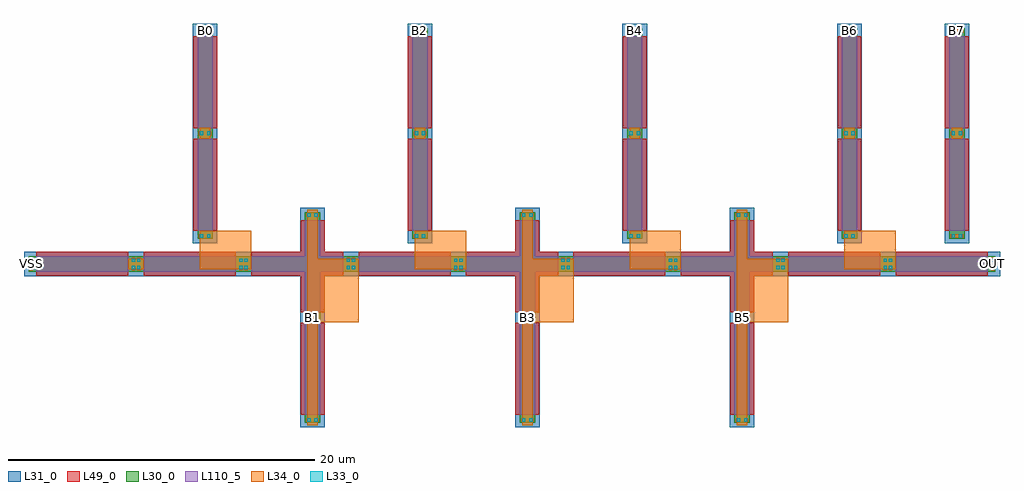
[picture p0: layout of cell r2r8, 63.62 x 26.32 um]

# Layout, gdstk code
import gdstk
lib = gdstk.Library(unit=1e-6, precision=1e-09)
def R(c, l, rs):  # rectangles x0, y0, x1, y1
    for r in rs: c.add(gdstk.rectangle(r[:2], r[2:], *l))
def A(c, l, x, y, w, h, nx, ny, dx, dy):  # array of equal rectangles
    R(c, l, [(x+i*dx, y+j*dy, x+i*dx+w, y+j*dy+h) for i in range(nx) for j in range(ny)])
L30_0 = (30, 0)
L31_0 = (31, 0)
L33_0 = (33, 0)
L34_0 = (34, 0)
L49_0 = (49, 0)
L110_5 = (110, 5)

r2r8 = lib.new_cell('r2r8')
A(r2r8, L30_0, 21, -9.86, 1, 7.02, 3, 2, 14, 6.7)
A(r2r8, L30_0, 2.99, 0, 7.02, 1, 9, 1, 7, 0)
A(r2r8, L30_0, 14, 2.14, 1, 7.02, 4, 2, 14, 6.7)
R(r2r8, L30_0, [(63,2.14,64,9.16), (63,8.84,64,15.86)])
A(r2r8, L31_0, 20.7, -10.16, 1.6, 7.62, 3, 2, 14, 6.7)
A(r2r8, L31_0, 2.69, -0.3, 7.62, 1.6, 9, 1, 7, 0)
A(r2r8, L31_0, 13.7, 1.84, 1.6, 7.62, 4, 2, 14, 6.7)
R(r2r8, L31_0, [(62.7,1.84,64.3,9.46), (62.7,8.54,64.3,16.16)])
R(r2r8, L33_0, [(21.155,-9.79,21.375,-9.57), (21.625,-9.79,21.845,-9.57), (35.155,-9.79,35.375,-9.57), (35.625,-9.79,35.845,-9.57), (49.155,-9.79,49.375,-9.57), (49.625,-9.79,49.845,-9.57), (21.155,-3.13,21.375,-2.91), (21.625,-3.13,21.845,-2.91), (35.155,-3.13,35.375,-2.91), (35.625,-3.13,35.845,-2.91), (49.155,-3.13,49.375,-2.91), (49.625,-3.13,49.845,-2.91), (21.155,-3.09,21.375,-2.87), (21.625,-3.09,21.845,-2.87), (35.155,-3.09,35.375,-2.87), (35.625,-3.09,35.845,-2.87), (49.155,-3.09,49.375,-2.87), (49.625,-3.09,49.845,-2.87), (3.06,0.155,3.28,0.375), (9.72,0.155,9.94,0.375), (10.06,0.155,10.28,0.375), (16.72,0.155,16.94,0.375), (17.06,0.155,17.28,0.375), (23.72,0.155,23.94,0.375), (24.06,0.155,24.28,0.375), (30.72,0.155,30.94,0.375), (31.06,0.155,31.28,0.375), (37.72,0.155,37.94,0.375), (38.06,0.155,38.28,0.375), (44.72,0.155,44.94,0.375), (45.06,0.155,45.28,0.375), (51.72,0.155,51.94,0.375), (52.06,0.155,52.28,0.375), (58.72,0.155,58.94,0.375), (59.06,0.155,59.28,0.375), (65.72,0.155,65.94,0.375), (3.06,0.625,3.28,0.845), (9.72,0.625,9.94,0.845), (10.06,0.625,10.28,0.845), (16.72,0.625,16.94,0.845), (17.06,0.625,17.28,0.845), (23.72,0.625,23.94,0.845), (24.06,0.625,24.28,0.845), (30.72,0.625,30.94,0.845), (31.06,0.625,31.28,0.845), (37.72,0.625,37.94,0.845), (38.06,0.625,38.28,0.845), (44.72,0.625,44.94,0.845), (45.06,0.625,45.28,0.845), (51.72,0.625,51.94,0.845), (52.06,0.625,52.28,0.845), (58.72,0.625,58.94,0.845), (59.06,0.625,59.28,0.845), (65.72,0.625,65.94,0.845), (14.155,2.21,14.375,2.43), (14.625,2.21,14.845,2.43), (28.155,2.21,28.375,2.43), (28.625,2.21,28.845,2.43), (42.155,2.21,42.375,2.43), (42.625,2.21,42.845,2.43), (56.155,2.21,56.375,2.43), (56.625,2.21,56.845,2.43), (63.155,2.21,63.375,2.43), (63.625,2.21,63.845,2.43), (21.155,3.57,21.375,3.79), (21.625,3.57,21.845,3.79), (35.155,3.57,35.375,3.79), (35.625,3.57,35.845,3.79), (49.155,3.57,49.375,3.79), (49.625,3.57,49.845,3.79), (14.155,8.87,14.375,9.09), (14.625,8.87,14.845,9.09), (28.155,8.87,28.375,9.09), (28.625,8.87,28.845,9.09), (42.155,8.87,42.375,9.09), (42.625,8.87,42.845,9.09), (56.155,8.87,56.375,9.09), (56.625,8.87,56.845,9.09), (63.155,8.87,63.375,9.09), (63.625,8.87,63.845,9.09), (14.155,8.91,14.375,9.13), (14.625,8.91,14.845,9.13), (28.155,8.91,28.375,9.13), (28.625,8.91,28.845,9.13), (42.155,8.91,42.375,9.13), (42.625,8.91,42.845,9.13), (56.155,8.91,56.375,9.13), (56.625,8.91,56.845,9.13), (63.155,8.91,63.375,9.13), (63.625,8.91,63.845,9.13), (14.155,15.57,14.375,15.79), (14.625,15.57,14.845,15.79), (28.155,15.57,28.375,15.79), (28.625,15.57,28.845,15.79), (42.155,15.57,42.375,15.79), (42.625,15.57,42.845,15.79), (56.155,15.57,56.375,15.79), (56.625,15.57,56.845,15.79), (63.155,15.57,63.375,15.79), (63.625,15.57,63.845,15.79)])
A(r2r8, L34_0, 21.16, -10.02, 0.68, 14.04, 3, 1, 14, 0)
A(r2r8, L34_0, 21.095, -9.795, 0.81, 0.23, 3, 2, 14, 6.66)
A(r2r8, L34_0, 21.16, -3.32, 3.35, 4.16, 3, 1, 14, 0)
A(r2r8, L34_0, 21.095, -3.095, 0.81, 0.23, 3, 2, 14, 6.66)
A(r2r8, L34_0, 14.16, 0.16, 3.35, 2.5, 4, 1, 14, 0)
A(r2r8, L34_0, 14.095, 2.205, 0.81, 0.23, 4, 2, 14, 6.66)
A(r2r8, L34_0, 14.16, 8.64, 0.68, 0.72, 4, 1, 14, 0)
A(r2r8, L34_0, 14.095, 8.905, 0.81, 0.23, 4, 2, 14, 6.66)
R(r2r8, L34_0, [(3.055,0.095,3.285,0.905), (9.715,0.095,9.945,0.905), (10.055,0.095,10.285,0.905), (16.715,0.095,16.945,0.905), (17.055,0.095,17.285,0.905), (23.715,0.095,23.945,0.905), (24.055,0.095,24.285,0.905), (30.715,0.095,30.945,0.905), (31.055,0.095,31.285,0.905), (37.715,0.095,37.945,0.905), (38.055,0.095,38.285,0.905), (44.715,0.095,44.945,0.905), (45.055,0.095,45.285,0.905), (51.715,0.095,51.945,0.905), (52.055,0.095,52.285,0.905), (58.715,0.095,58.945,0.905), (59.055,0.095,59.285,0.905), (65.715,0.095,65.945,0.905), (9.49,0.16,10.51,0.84), (63.095,2.205,63.905,2.435), (63.16,8.64,63.84,9.36), (63.095,8.865,63.905,9.095), (63.095,8.905,63.905,9.135), (63.095,15.565,63.905,15.795)])
A(r2r8, L49_0, 20.72, -9.35, 1.56, 6, 3, 2, 14, 6.7)
A(r2r8, L49_0, 3.5, -0.28, 6, 1.56, 9, 1, 7, 0)
A(r2r8, L49_0, 13.72, 2.65, 1.56, 6, 4, 2, 14, 6.7)
R(r2r8, L49_0, [(62.72,2.65,64.28,8.65), (62.72,9.35,64.28,15.35)])
A(r2r8, L110_5, 21, -9.35, 1, 6, 3, 2, 14, 6.7)
A(r2r8, L110_5, 3.5, 0, 6, 1, 9, 1, 7, 0)
A(r2r8, L110_5, 14, 2.65, 1, 6, 4, 2, 14, 6.7)
R(r2r8, L110_5, [(63,2.65,64,8.65), (63,9.35,64,15.35)])
r2r8.add(gdstk.Label('VSS', (3.17,0.5), layer=34, texttype=10))
r2r8.add(gdstk.Label('VSS', (3.17,0.5), layer=34, texttype=10))
r2r8.add(gdstk.Label('OUT', (65.83,0.5), layer=34, texttype=10))
r2r8.add(gdstk.Label('B0', (14.5,15.68), layer=34, texttype=10))
r2r8.add(gdstk.Label('B1', (21.5,-3.02), layer=34, texttype=10))
r2r8.add(gdstk.Label('B2', (28.5,15.68), layer=34, texttype=10))
r2r8.add(gdstk.Label('B3', (35.5,-3.02), layer=34, texttype=10))
r2r8.add(gdstk.Label('B4', (42.5,15.68), layer=34, texttype=10))
r2r8.add(gdstk.Label('B5', (49.5,-3.02), layer=34, texttype=10))
r2r8.add(gdstk.Label('B6', (56.5,15.68), layer=34, texttype=10))
r2r8.add(gdstk.Label('B7', (63.5,15.68), layer=34, texttype=10))

lib.write_gds('r2r8.gds')
